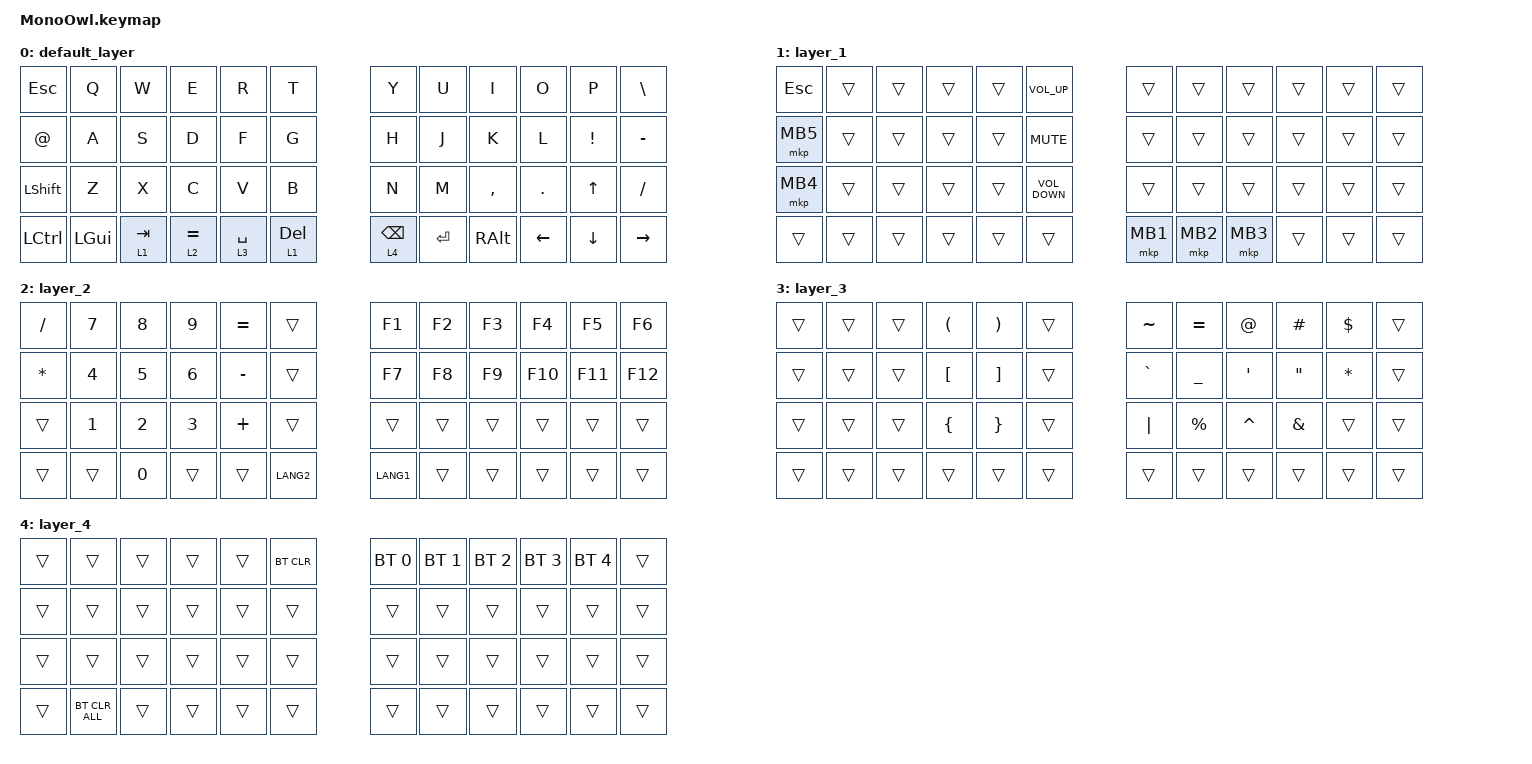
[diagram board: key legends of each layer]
#include <behaviors.dtsi>
#include <dt-bindings/zmk/bt.h>
#include <dt-bindings/zmk/keys.h>
#include <dt-bindings/zmk/pointing.h>

/ {
    keymap {
        compatible = "zmk,keymap";

        default_layer {
            bindings = <
&kp ESC      &kp Q     &kp W      &kp E        &kp R        &kp T        &kp Y            &kp U      &kp I          &kp O           &kp P            &kp BACKSLASH
&kp AT_SIGN  &kp A     &kp S      &kp D        &kp F        &kp G        &kp H            &kp J      &kp K          &kp L           &kp EXCLAMATION  &kp MINUS
&kp LSHFT    &kp Z     &kp X      &kp C        &kp V        &kp B        &kp N            &kp M      &kp COMMA      &kp DOT         &kp UP_ARROW     &kp SLASH
&kp LCTRL    &kp LGUI  &lt 1 TAB  &lt 2 EQUAL  &lt 3 SPACE  &lt 1 DEL    &lt 4 BACKSPACE  &kp ENTER  &kp RIGHT_ALT  &kp LEFT_ARROW  &kp DOWN_ARROW   &kp RIGHT_ARROW
            >;
        };

        layer_1 {
            bindings = <
&kp ESC   &trans  &trans  &trans  &trans  &kp C_VOLUME_UP      &trans    &trans    &trans    &trans  &trans  &trans
&mkp MB5  &trans  &trans  &trans  &trans  &kp C_MUTE           &trans    &trans    &trans    &trans  &trans  &trans
&mkp MB4  &trans  &trans  &trans  &trans  &kp C_VOLUME_DOWN    &trans    &trans    &trans    &trans  &trans  &trans
&trans    &trans  &trans  &trans  &trans  &trans               &mkp MB1  &mkp MB2  &mkp MB3  &trans  &trans  &trans
            >;
        };

        layer_2 {
            bindings = <
&kp SLASH  &kp NUMBER_7  &kp NUMBER_8  &kp NUMBER_9  &kp EQUAL  &trans       &kp F1     &kp F2  &kp F3  &kp F4   &kp F5   &kp F6
&kp STAR   &kp NUMBER_4  &kp NUMBER_5  &kp NUMBER_6  &kp MINUS  &trans       &kp F7     &kp F8  &kp F9  &kp F10  &kp F11  &kp F12
&trans     &kp NUMBER_1  &kp NUMBER_2  &kp NUMBER_3  &kp PLUS   &trans       &trans     &trans  &trans  &trans   &trans   &trans
&trans     &trans        &kp NUMBER_0  &trans        &trans     &kp LANG2    &kp LANG1  &trans  &trans  &trans   &trans   &trans
            >;
        };

        layer_3 {
            bindings = <
&trans  &trans  &trans  &kp LEFT_PARENTHESIS  &kp RIGHT_PARENTHESIS  &trans    &kp TILDE  &kp EQUAL  &kp AT            &kp HASH  &kp DOLLAR  &trans
&trans  &trans  &trans  &kp LEFT_BRACKET      &kp RIGHT_BRACKET      &trans    &kp GRAVE  &kp UNDER  &kp SINGLE_QUOTE  &kp DQT   &kp STAR    &trans
&trans  &trans  &trans  &kp LEFT_BRACE        &kp RIGHT_BRACE        &trans    &kp PIPE   &kp PRCNT  &kp CARET         &kp AMPS  &trans      &trans
&trans  &trans  &trans  &trans                &trans                 &trans    &trans     &trans     &trans            &trans    &trans      &trans
            >;
        };

        layer_4 {
            bindings = <
&trans  &trans          &trans  &trans  &trans  &bt BT_CLR    &bt BT_SEL 0  &bt BT_SEL 1  &bt BT_SEL 2  &bt BT_SEL 3  &bt BT_SEL 4  &trans
&trans  &trans          &trans  &trans  &trans  &trans        &trans        &trans        &trans        &trans        &trans        &trans
&trans  &trans          &trans  &trans  &trans  &trans        &trans        &trans        &trans        &trans        &trans        &trans
&trans  &bt BT_CLR_ALL  &trans  &trans  &trans  &trans        &trans        &trans        &trans        &trans        &trans        &trans
            >;
        };
    };
};
